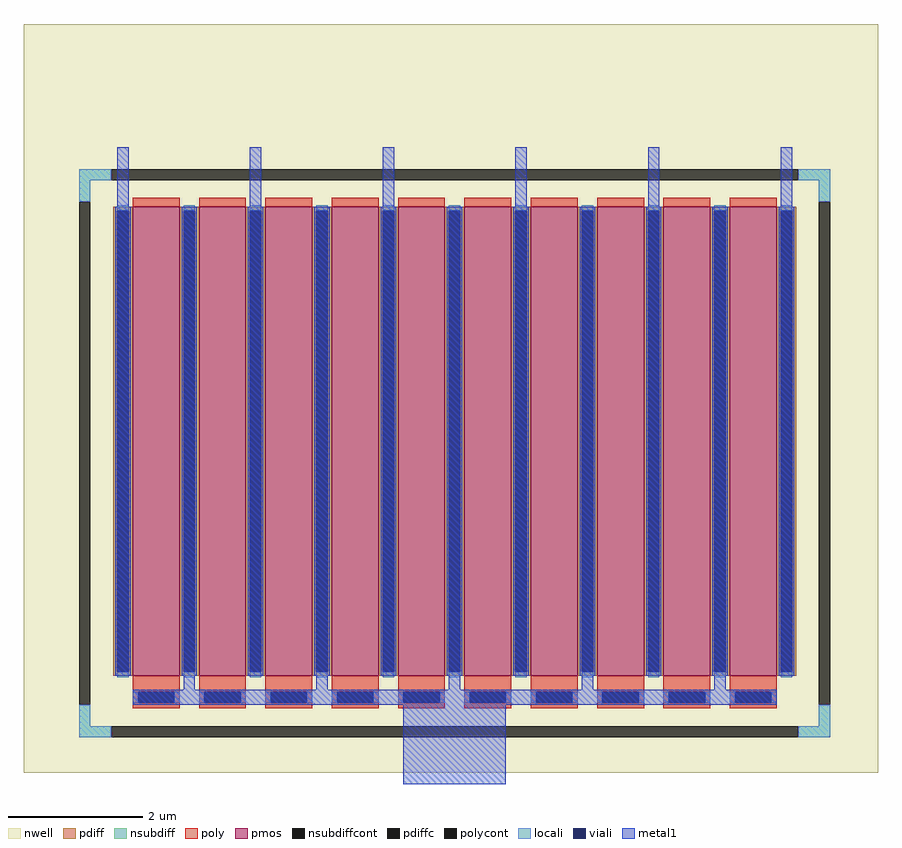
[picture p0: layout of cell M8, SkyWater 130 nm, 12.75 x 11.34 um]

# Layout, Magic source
magic
tech sky130A
magscale 1 2
<< nwell >>
rect -182 -122 2368 2112
<< metal1 >>
rect 97 179 131 1744
rect 295 126 329 1555
rect 493 167 527 1744
rect 691 126 725 1567
rect 889 167 923 1744
rect 1087 126 1121 1567
rect 1285 167 1319 1744
rect 1483 126 1517 1567
rect 1681 167 1715 1744
rect 1879 126 1913 1567
rect 2077 167 2111 1744
rect 143 80 2065 126
rect 951 -156 1257 80
use sky130_fd_pr__pfet_01v8_DDDKZT  sky130_fd_pr__pfet_01v8_DDDKZT_0
transform 1 0 1104 0 1 831
box -1157 -884 1157 884
<< end >>

# cell sky130_fd_pr__pfet_01v8_DDDKZT: kit device sky130_fd_pr__pfet_01v8, w 7 l 0.7 m 1 nf 10 diffcov 100 polycov 100 guard 1 glc 1 grc 1 gtc 1 gbc 1 tbcov 100 rlcov 100 topc 0 botc 1 poverlap 0 doverlap 1 lmin 0.15 wmin 0.42 compatible {sky130_fd_pr__pfet_01v8 sky130_fd_pr__pfet_01v8_lvt sky130_fd_pr__pfet_01v8_hvt sky130_fd_pr__pfet_g5v0d10v5} full_metal 1 viasrc 100 viadrn 100 viagate 100 viagb 0 viagr 0 viagl 0 viagt 0
